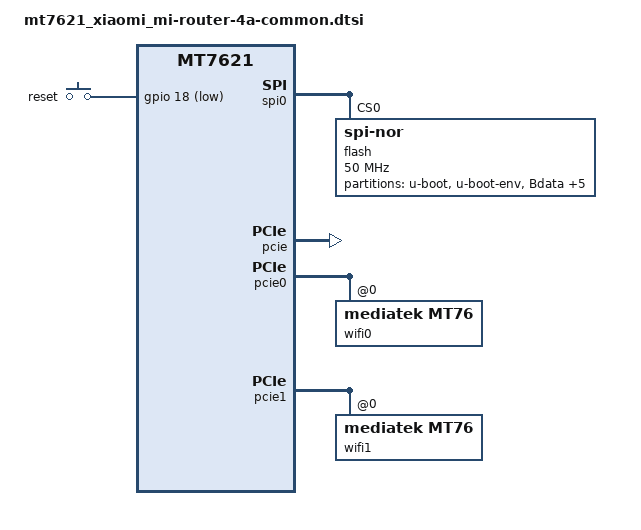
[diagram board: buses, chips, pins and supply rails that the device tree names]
// SPDX-License-Identifier: GPL-2.0-or-later OR MIT

#include "mt7621.dtsi"

#include <dt-bindings/gpio/gpio.h>
#include <dt-bindings/input/input.h>

/ {
	aliases {
		led-boot = &led_status_yellow;
		led-failsafe = &led_status_yellow;
		led-running = &led_status_blue;
		led-upgrade = &led_status_yellow;
	};

	chosen {
		bootargs = "console=ttyS0,115200n8";
	};

	keys {
		compatible = "gpio-keys";

		reset {
			label = "reset";
			gpios = <&gpio 18 GPIO_ACTIVE_LOW>;
			linux,code = <KEY_RESTART>;
		};
	};
};

&spi0 {
	status = "okay";

	flash@0 {
		compatible = "jedec,spi-nor";
		reg = <0>;
		spi-max-frequency = <50000000>;
		m25p,fast-read;

		partitions: partitions {
			compatible = "fixed-partitions";
			#address-cells = <1>;
			#size-cells = <1>;

			partition@0 {
				label = "u-boot";
				reg = <0x0 0x30000>;
				read-only;
			};

			partition@30000 {
				label = "u-boot-env";
				reg = <0x30000 0x10000>;
				read-only;
			};

			partition@40000 {
				label = "Bdata";
				reg = <0x40000 0x10000>;
				read-only;
			};

			factory: partition@50000 {
				label = "factory";
				reg = <0x50000 0x10000>;
				read-only;
			};

			partition@60000 {
				label = "crash";
				reg = <0x60000 0x10000>;
				read-only;
			};

			partition@70000 {
				label = "cfg_bak";
				reg = <0x70000 0x10000>;
				read-only;
			};

			partition@80000 {
				label = "overlay";
				reg = <0x80000 0x100000>;
				read-only;
			};

			firmware: partition@180000 {
				compatible = "denx,uimage";
				label = "firmware";
				reg = <0x180000 0xe80000>;
			};
		};
	};
};

&pcie {
	status = "okay";
};

&pcie0 {
	wifi0: wifi@0,0 {
		compatible = "mediatek,mt76";
		reg = <0x0000 0 0 0 0>;
	};
};

&pcie1 {
	wifi1: wifi@0,0 {
		compatible = "mediatek,mt76";
		reg = <0x0000 0 0 0 0>;
	};
};

&gmac0 {
	nvmem-cells = <&macaddr_factory_e000>;
	nvmem-cell-names = "mac-address";
};

&state_default {
	gpio {
		groups = "jtag", "uart2", "uart3", "wdt";
		function = "gpio";
	};
};

&factory {
	compatible = "nvmem-cells";
	#address-cells = <1>;
	#size-cells = <1>;

	macaddr_factory_e000: macaddr@e000 {
		reg = <0xe000 0x6>;
	};

	macaddr_factory_e006: macaddr@e006 {
		reg = <0xe006 0x6>;
	};
};
